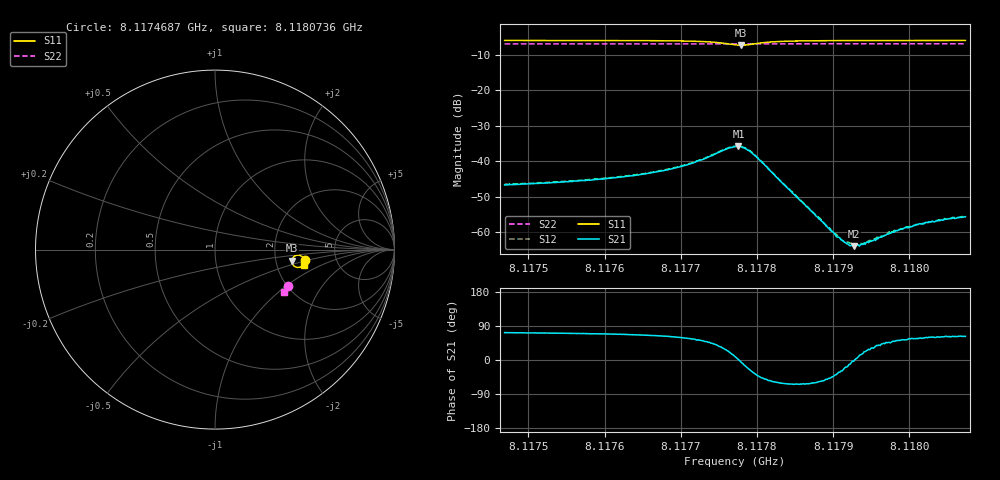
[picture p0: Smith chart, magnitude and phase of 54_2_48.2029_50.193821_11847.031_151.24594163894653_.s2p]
#  HZ  S  RI  R  50.00
! Rohde & Schwarz Vector Network Analyzer
! Rohde-Schwarz,ZNB20-2Port,1311601062101988,3.16
! Created: UTC 3/20/2024, 11:38:29 AM
! freq[Hz]  re:S11  im:S11  re:S21  im:S21  re:S12  im:S12  re:S22  im:S22
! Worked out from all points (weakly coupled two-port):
!   401 points, 8.1174687 GHz to 8.1180736 GHz, reference 50 ohm
!   highest |S21| = -35.83 dB at 8.1177757 GHz (marker M1); lowest = -63.9 dB at 8.1179269 GHz (marker M2)
!   lowest |S11| = -7.3 dB at 8.1177787 GHz (marker M3), VSWR 2.53, Z = 123 - j18.7 ohm
!   |S11| at or under -10 dB: nowhere
!   |S22| runs from -6.9 to -6.9 dB; largest |S21 - S12| = 0.00048
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8.1174687e9  0.502 -0.0553  0.00141 0.00442  0.00147 0.00452  0.4055 -0.2001
8.11757001e9  0.4999 -0.0658  0.00184 0.00502  0.00192 0.00506  0.4024 -0.2065
8.11762596e9  0.4976 -0.0732  0.00233 0.0056  0.00242 0.00567  0.4008 -0.2103
8.11767133e9  0.494 -0.0809  0.00319 0.00643  0.00328 0.00655  0.3991 -0.2131
8.11771367e9  0.4851 -0.0915  0.0052 0.00769  0.00535 0.00779  0.3974 -0.216
8.11775147e9  0.4576 -0.0991  0.0111 0.00787  0.0114 0.00795  0.395 -0.2183
8.11777113e9  0.4311 -0.0792  0.0159 0.00256  0.0162 0.00239  0.3936 -0.2182
8.11777567e9  0.4284 -0.0691  0.0162 0.000269  0.0164 6.82e-05  0.3933 -0.2181
8.11777869e9  0.4282 -0.0618  0.0159 -0.00138  0.016 -0.00153  0.3934 -0.2181
8.11778776e9  0.4365 -0.0424  0.0134 -0.00518  0.0137 -0.00546  0.3938 -0.2177
8.11779532e9  0.4491 -0.0332  0.0105 -0.0069  0.0107 -0.00708  0.3942 -0.2181
8.11782557e9  0.4848 -0.0383  0.00307 -0.00514  0.00308 -0.00526  0.3946 -0.2204
8.11787244e9  0.4966 -0.0563  0.00095 -0.00167  0.00094 -0.00177  0.3935 -0.224
8.11790269e9  0.4982 -0.0635  0.000714 -0.000586  0.00072 -0.000594  0.3926 -0.2261
8.11791025e9  0.4985 -0.0648  0.000692 -0.000383  0.000681 -0.000389  0.3923 -0.2267
8.11791932e9  0.4986 -0.0665  0.000653 -0.000188  0.000708 -0.00017  0.3921 -0.2273
8.11792688e9  0.4986 -0.0678  0.000634 -3.94e-05  0.00066 -2.65e-05  0.3917 -0.2279
8.11794049e9  0.4987 -0.07  0.000641 0.000253  0.000673 0.000226  0.3913 -0.2288
8.11797376e9  0.4988 -0.0745  0.000663 0.000693  0.000699 0.000732  0.3902 -0.2309
8.11800551e9  0.4984 -0.0784  0.000689 0.00103  0.000706 0.00102  0.3892 -0.233
8.11802366e9  0.4981 -0.0805  0.00071 0.00116  0.000729 0.00117  0.3884 -0.234
8.11807356e9  0.4976 -0.0855  0.000763 0.00146  0.000777 0.00149  0.3869 -0.2373
